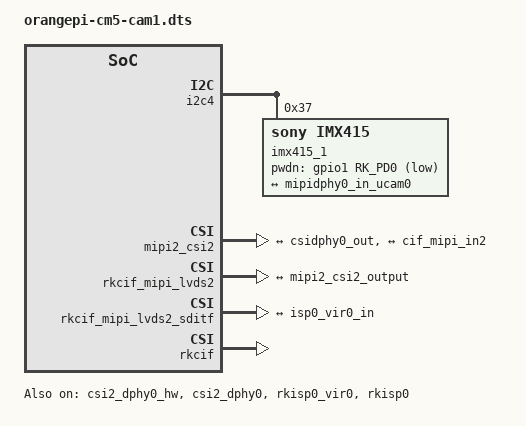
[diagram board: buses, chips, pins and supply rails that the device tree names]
/dts-v1/;
/plugin/;

/ {

	fragment@0 {
		target = <&csi2_dphy0_hw>;

		__overlay__ {
			status = "okay";
		};
	};

	fragment@1 {
		target = <&csi2_dphy0>;

		__overlay__ {
			status = "okay";

			ports {
				#address-cells = <1>;
				#size-cells = <0>;

				port@0 {
					reg = <0>;

					mipidphy0_in_ucam0: endpoint@1 {
						reg = <1>;
						remote-endpoint = <&imx415_1_out1>;
						data-lanes = <1 2 3 4>;
					};
				};

				port@1 {
					reg = <1>;

					csidphy0_out: endpoint@0 {
						reg = <0>;
						remote-endpoint = <&mipi2_csi2_input>;
					};
				};
			};
		};
	};

	fragment@2 {
		target = <&i2c4>;

		__overlay__ {
			status = "okay";

			imx415_1: imx415@37 {
				status = "okay";
				compatible = "sony,imx415";
				reg = <0x37>;

				clocks = <&cru CLK_MIPI_CAMARAOUT_M1>;
				clock-names = "xvclk";

				assigned-clocks = <&cru CLK_MIPI_CAMARAOUT_M1>;
				assigned-clock-rates = <24000000>;

				power-domains = <&power RK3588_PD_VI>;

				pwdn-gpios = <&gpio1 RK_PD0 GPIO_ACTIVE_LOW>;

				rockchip,camera-module-index = <0>;
				rockchip,camera-module-facing = "back";
				rockchip,camera-module-name = "WaveShare-IMX415";
				rockchip,camera-module-lens-name = "default";

				port {
					imx415_1_out1: endpoint {
						remote-endpoint = <&mipidphy0_in_ucam0>;
						data-lanes = <1 2 3 4>;
					};
				};
			};
		};
	};

	fragment@3 {
		target = <&mipi2_csi2>;

		__overlay__ {
			status = "okay";

			ports {
				#address-cells = <1>;
				#size-cells = <0>;

				port@0 {
					reg = <0>;

					mipi2_csi2_input: endpoint@1 {
						reg = <1>;
						remote-endpoint = <&csidphy0_out>;
					};
				};

				port@1 {
					reg = <1>;

					mipi2_csi2_output: endpoint@0 {
						reg = <0>;
						remote-endpoint = <&cif_mipi_in2>;
					};
				};
			};
		};
	};

	fragment@4 {
		target = <&rkcif_mipi_lvds2>;

		__overlay__ {
			status = "okay";

			port {
				cif_mipi_in2: endpoint {
					remote-endpoint = <&mipi2_csi2_output>;
				};
			};
		};
	};

	fragment@5 {
		target = <&rkcif_mipi_lvds2_sditf>;

		__overlay__ {
			status = "okay";

			port {
				mipi2_lvds_sditf: endpoint {
					remote-endpoint = <&isp0_vir0_in>;
				};
			};
		};
	};

	fragment@6 {
		target = <&rkisp0_vir0>;

		__overlay__ {
			status = "okay";

			port {
				#address-cells = <1>;
				#size-cells = <0>;

				isp0_vir0_in: endpoint@0 {
					reg = <0>;
					remote-endpoint = <&mipi2_lvds_sditf>;
				};
			};
		};
	};

	fragment@7 {
		target = <&rkcif>;

		__overlay__ {
			status = "okay";
		};
	};

	fragment@8 {
		target = <&rkcif_mmu>;

		__overlay__ {
			status = "okay";
		};
	};

	fragment@9 {
		target = <&rkisp0>;

		__overlay__ {
			status = "okay";
		};
	};

	fragment@10 {
		target = <&isp0_mmu>;

		__overlay__ {
			status = "okay";
		};
	};
};
